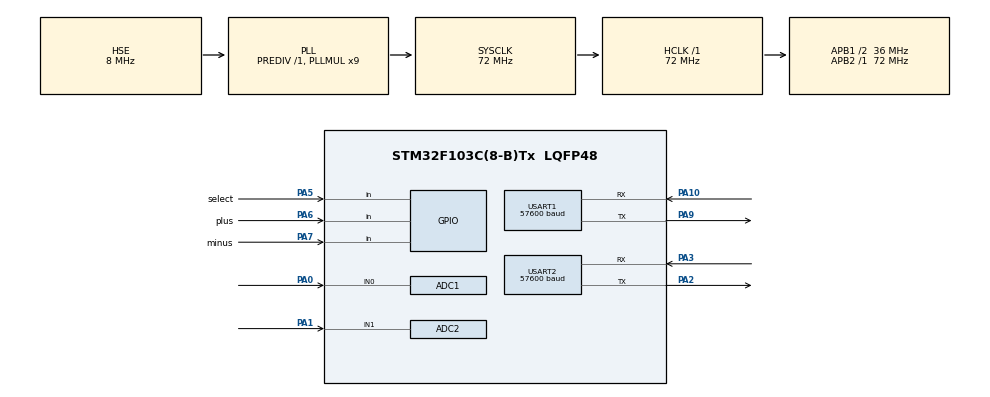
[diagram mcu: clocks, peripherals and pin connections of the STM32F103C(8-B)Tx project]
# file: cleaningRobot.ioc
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ADC1.Channel-0\#ChannelRegularConversion=ADC_CHANNEL_0
ADC1.ContinuousConvMode=ENABLE
ADC1.NbrOfConversion=1
ADC1.NbrOfConversionFlag=1
ADC1.Rank-0\#ChannelRegularConversion=1
ADC1.SamplingTime-0\#ChannelRegularConversion=ADC_SAMPLETIME_239CYCLES_5
ADC1.master=1
ADC2.Channel-0\#ChannelRegularConversion=ADC_CHANNEL_1
ADC2.ContinuousConvMode=ENABLE
ADC2.NbrOfConversionFlag=1
ADC2.Rank-0\#ChannelRegularConversion=1
ADC2.SamplingTime-0\#ChannelRegularConversion=ADC_SAMPLETIME_239CYCLES_5
FREERTOS.Tasks01=sendData1,47,256,sendData1Task,Default,NULL,Dynamic,NULL,NULL;sendData2,46,256,sendData2Task,Default,NULL,Dynamic,NULL,NULL;readAdc,45,256,readAdcTask,Default,NULL,Dynamic,NULL,NULL;getData1,44,256,getData1Task,Default,NULL,Dynamic,NULL,NULL;getData2,43,256,getData2Task,Default,NULL,Dynamic,NULL,NULL;btnControl,42,128,btnControlTask,Default,NULL,Dynamic,NULL,NULL
FREERTOS.configTOTAL_HEAP_SIZE=10240
Mcu.Family=STM32F1
Mcu.Name=STM32F103C(8-B)Tx
Mcu.Package=LQFP48
NVIC.PriorityGroup=NVIC_PRIORITYGROUP_4
NVIC.TIM1_UP_IRQn=true\:0\:0\:false\:false\:true\:false\:false\:true
NVIC.TIM4_IRQn=true\:5\:0\:false\:false\:true\:true\:true\:true
NVIC.TimeBase=TIM1_UP_IRQn
NVIC.TimeBaseIP=TIM1
PA0-WKUP.Signal=ADCx_IN0
PA1.Signal=ADCx_IN1
PA10.Mode=Asynchronous
PA10.Signal=USART1_RX
PA13.Mode=Serial_Wire
PA13.Signal=SYS_JTMS-SWDIO
PA14.Mode=Serial_Wire
PA14.Signal=SYS_JTCK-SWCLK
PA2.Mode=Asynchronous
PA2.Signal=USART2_TX
PA3.Mode=Asynchronous
PA3.Signal=USART2_RX
PA5.GPIO_Label=select
PA5.GPIO_PuPd=GPIO_PULLUP
PA5.Signal=GPIO_Input
PA6.GPIO_Label=plus
PA6.GPIO_PuPd=GPIO_PULLUP
PA6.Signal=GPIO_Input
PA7.GPIO_Label=minus
PA7.GPIO_PuPd=GPIO_PULLUP
PA7.Signal=GPIO_Input
PA9.Mode=Asynchronous
PA9.Signal=USART1_TX
PD0-OSC_IN.Mode=HSE-External-Oscillator
PD0-OSC_IN.Signal=RCC_OSC_IN
PD1-OSC_OUT.Mode=HSE-External-Oscillator
PD1-OSC_OUT.Signal=RCC_OSC_OUT
ProjectManager.HeapSize=0x200
ProjectManager.StackSize=0x400
ProjectManager.TargetToolchain=STM32CubeIDE
RCC.ADCPresc=RCC_ADCPCLK2_DIV6
RCC.AHBFreq_Value=72000000
RCC.APB1CLKDivider=RCC_HCLK_DIV2
RCC.APB1Freq_Value=36000000
RCC.APB1TimFreq_Value=72000000
RCC.APB2Freq_Value=72000000
RCC.APB2TimFreq_Value=72000000
RCC.HCLKFreq_Value=72000000
RCC.PLLMUL=RCC_PLL_MUL9
RCC.PLLSourceVirtual=RCC_PLLSOURCE_HSE
RCC.SYSCLKFreq_VALUE=72000000
RCC.SYSCLKSource=RCC_SYSCLKSOURCE_PLLCLK
RCC.USBFreq_Value=72000000
SH.ADCx_IN0.0=ADC1_IN0,IN0
SH.ADCx_IN1.0=ADC2_IN1,IN1
TIM4.ClockDivision=TIM_CLOCKDIVISION_DIV2
TIM4.Period=1
TIM4.Prescaler=15999
TIM4.TIM_MasterOutputTrigger=TIM_TRGO_UPDATE
USART1.BaudRate=57600
USART1.VirtualMode=VM_ASYNC
USART2.BaudRate=57600
USART2.VirtualMode=VM_ASYNC
VP_FREERTOS_VS_CMSIS_V2.Mode=CMSIS_V2
VP_SYS_VS_tim1.Mode=TIM1
VP_TIM4_VS_ClockSourceINT.Mode=Internal
board=custom

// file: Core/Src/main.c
/* USER CODE BEGIN Header */
/**
  ******************************************************************************
  * @file           : main.c
  * @brief          : Main program body
  ******************************************************************************
  * @attention
  *
  * <h2><center>&copy; Copyright (c) 2021 STMicroelectronics.
  * All rights reserved.</center></h2>
  *
  * This software component is licensed by ST under BSD 3-Clause license,
  * the "License"; You may not use this file except in compliance with the
  * License. You may obtain a copy of the License at:
  *                        opensource.org/licenses/BSD-3-Clause
  *
  ******************************************************************************
  */
/* USER CODE END Header */
#include "main.h"
#include "cmsis_os.h"

/* USER CODE BEGIN Includes */
#include "motorDriverInterface.h"
#include "analogValuesController.h"
#include "buttonController.h"
/* USER CODE END Includes */

ADC_HandleTypeDef hadc1;
ADC_HandleTypeDef hadc2;

TIM_HandleTypeDef htim4;

UART_HandleTypeDef huart1;
UART_HandleTypeDef huart2;

/* Definitions for sendData1 */
osThreadId_t sendData1Handle;
const osThreadAttr_t sendData1_attributes = {
  .name = "sendData1",
  .priority = (osPriority_t) osPriorityHigh7,
  .stack_size = 256 * 4
};
/* Definitions for sendData2 */
osThreadId_t sendData2Handle;
const osThreadAttr_t sendData2_attributes = {
  .name = "sendData2",
  .priority = (osPriority_t) osPriorityHigh6,
  .stack_size = 256 * 4
};
/* Definitions for readAdc */
osThreadId_t readAdcHandle;
const osThreadAttr_t readAdc_attributes = {
  .name = "readAdc",
  .priority = (osPriority_t) osPriorityHigh5,
  .stack_size = 256 * 4
};
/* Definitions for getData1 */
osThreadId_t getData1Handle;
const osThreadAttr_t getData1_attributes = {
  .name = "getData1",
  .priority = (osPriority_t) osPriorityHigh4,
  .stack_size = 256 * 4
};
/* Definitions for getData2 */
osThreadId_t getData2Handle;
const osThreadAttr_t getData2_attributes = {
  .name = "getData2",
  .priority = (osPriority_t) osPriorityHigh3,
  .stack_size = 256 * 4
};
/* Definitions for btnControl */
osThreadId_t btnControlHandle;
const osThreadAttr_t btnControl_attributes = {
  .name = "btnControl",
  .priority = (osPriority_t) osPriorityHigh2,
  .stack_size = 128 * 4
};

void SystemClock_Config(void);
static void MX_GPIO_Init(void);
static void MX_ADC1_Init(void);
static void MX_USART1_UART_Init(void);
static void MX_TIM4_Init(void);
static void MX_USART2_UART_Init(void);
static void MX_ADC2_Init(void);
void sendData1Task(void *argument);
void sendData2Task(void *argument);
void readAdcTask(void *argument);
void getData1Task(void *argument);
void getData2Task(void *argument);
void btnControlTask(void *argument);

/* USER CODE BEGIN 0 */
uint16_t val1,val2;
/* USER CODE END 0 */

int main(void)
{

  /* MCU Configuration--------------------------------------------------------*/

  /* Reset of all peripherals, Initializes the Flash interface and the Systick. */
  HAL_Init();

  /* Configure the system clock */
  SystemClock_Config();

  /* Initialize all configured peripherals */
  MX_GPIO_Init();
  MX_ADC1_Init();
  MX_USART1_UART_Init();
  MX_TIM4_Init();
  MX_USART2_UART_Init();
  MX_ADC2_Init();

  /* Init scheduler */
  osKernelInitialize();

  /* Create the thread(s) */
  /* creation of sendData1 */
  sendData1Handle = osThreadNew(sendData1Task, NULL, &sendData1_attributes);

  /* creation of sendData2 */
  sendData2Handle = osThreadNew(sendData2Task, NULL, &sendData2_attributes);

  /* creation of readAdc */
  readAdcHandle = osThreadNew(readAdcTask, NULL, &readAdc_attributes);

  /* creation of getData1 */
  getData1Handle = osThreadNew(getData1Task, NULL, &getData1_attributes);

  /* creation of getData2 */
  getData2Handle = osThreadNew(getData2Task, NULL, &getData2_attributes);

  /* creation of btnControl */
  btnControlHandle = osThreadNew(btnControlTask, NULL, &btnControl_attributes);

  /* Start scheduler */
  osKernelStart();

  /* We should never get here as control is now taken by the scheduler */
  /* Infinite loop */
  while (1)
  {

    /* USER CODE BEGIN 3 */

	  //
  }
  /* USER CODE END 3 */
}

void SystemClock_Config(void)
{
  RCC_OscInitTypeDef RCC_OscInitStruct = {0};
  RCC_ClkInitTypeDef RCC_ClkInitStruct = {0};
  RCC_PeriphCLKInitTypeDef PeriphClkInit = {0};

  /** Initializes the RCC Oscillators according to the specified parameters
  * in the RCC_OscInitTypeDef structure.
  */
  RCC_OscInitStruct.OscillatorType = RCC_OSCILLATORTYPE_HSE;
  RCC_OscInitStruct.HSEState = RCC_HSE_ON;
  RCC_OscInitStruct.HSEPredivValue = RCC_HSE_PREDIV_DIV1;
  RCC_OscInitStruct.HSIState = RCC_HSI_ON;
  RCC_OscInitStruct.PLL.PLLState = RCC_PLL_ON;
  RCC_OscInitStruct.PLL.PLLSource = RCC_PLLSOURCE_HSE;
  RCC_OscInitStruct.PLL.PLLMUL = RCC_PLL_MUL9;
  if (HAL_RCC_OscConfig(&RCC_OscInitStruct) != HAL_OK)
  {
    Error_Handler();
  }
  /** Initializes the CPU, AHB and APB buses clocks
  */
  RCC_ClkInitStruct.ClockType = RCC_CLOCKTYPE_HCLK|RCC_CLOCKTYPE_SYSCLK
                              |RCC_CLOCKTYPE_PCLK1|RCC_CLOCKTYPE_PCLK2;
  RCC_ClkInitStruct.SYSCLKSource = RCC_SYSCLKSOURCE_PLLCLK;
  RCC_ClkInitStruct.AHBCLKDivider = RCC_SYSCLK_DIV1;
  RCC_ClkInitStruct.APB1CLKDivider = RCC_HCLK_DIV2;
  RCC_ClkInitStruct.APB2CLKDivider = RCC_HCLK_DIV1;

  if (HAL_RCC_ClockConfig(&RCC_ClkInitStruct, FLASH_LATENCY_2) != HAL_OK)
  {
    Error_Handler();
  }
  PeriphClkInit.PeriphClockSelection = RCC_PERIPHCLK_ADC;
  PeriphClkInit.AdcClockSelection = RCC_ADCPCLK2_DIV6;
  if (HAL_RCCEx_PeriphCLKConfig(&PeriphClkInit) != HAL_OK)
  {
    Error_Handler();
  }
}

static void MX_ADC1_Init(void)
{

  ADC_ChannelConfTypeDef sConfig = {0};

  /** Common config
  */
  hadc1.Instance = ADC1;
  hadc1.Init.ScanConvMode = ADC_SCAN_DISABLE;
  hadc1.Init.ContinuousConvMode = ENABLE;
  hadc1.Init.DiscontinuousConvMode = DISABLE;
  hadc1.Init.ExternalTrigConv = ADC_SOFTWARE_START;
  hadc1.Init.DataAlign = ADC_DATAALIGN_RIGHT;
  hadc1.Init.NbrOfConversion = 1;
  if (HAL_ADC_Init(&hadc1) != HAL_OK)
  {
    Error_Handler();
  }
  /** Configure Regular Channel
  */
  sConfig.Channel = ADC_CHANNEL_0;
  sConfig.Rank = ADC_REGULAR_RANK_1;
  sConfig.SamplingTime = ADC_SAMPLETIME_239CYCLES_5;
  if (HAL_ADC_ConfigChannel(&hadc1, &sConfig) != HAL_OK)
  {
    Error_Handler();
  }

}

static void MX_ADC2_Init(void)
{

  ADC_ChannelConfTypeDef sConfig = {0};

  /** Common config
  */
  hadc2.Instance = ADC2;
  hadc2.Init.ScanConvMode = ADC_SCAN_DISABLE;
  hadc2.Init.ContinuousConvMode = ENABLE;
  hadc2.Init.DiscontinuousConvMode = DISABLE;
  hadc2.Init.ExternalTrigConv = ADC_SOFTWARE_START;
  hadc2.Init.DataAlign = ADC_DATAALIGN_RIGHT;
  hadc2.Init.NbrOfConversion = 1;
  if (HAL_ADC_Init(&hadc2) != HAL_OK)
  {
    Error_Handler();
  }
  /** Configure Regular Channel
  */
  sConfig.Channel = ADC_CHANNEL_1;
  sConfig.Rank = ADC_REGULAR_RANK_1;
  sConfig.SamplingTime = ADC_SAMPLETIME_239CYCLES_5;
  if (HAL_ADC_ConfigChannel(&hadc2, &sConfig) != HAL_OK)
  {
    Error_Handler();
  }

}

static void MX_TIM4_Init(void)
{

  TIM_ClockConfigTypeDef sClockSourceConfig = {0};
  TIM_MasterConfigTypeDef sMasterConfig = {0};

  htim4.Instance = TIM4;
  htim4.Init.Prescaler = 15999;
  htim4.Init.CounterMode = TIM_COUNTERMODE_UP;
  htim4.Init.Period = 1;
  htim4.Init.ClockDivision = TIM_CLOCKDIVISION_DIV2;
  htim4.Init.AutoReloadPreload = TIM_AUTORELOAD_PRELOAD_DISABLE;
  if (HAL_TIM_Base_Init(&htim4) != HAL_OK)
  {
    Error_Handler();
  }
  sClockSourceConfig.ClockSource = TIM_CLOCKSOURCE_INTERNAL;
  if (HAL_TIM_ConfigClockSource(&htim4, &sClockSourceConfig) != HAL_OK)
  {
    Error_Handler();
  }
  sMasterConfig.MasterOutputTrigger = TIM_TRGO_UPDATE;
  sMasterConfig.MasterSlaveMode = TIM_MASTERSLAVEMODE_DISABLE;
  if (HAL_TIMEx_MasterConfigSynchronization(&htim4, &sMasterConfig) != HAL_OK)
  {
    Error_Handler();
  }

}

static void MX_USART1_UART_Init(void)
{

  huart1.Instance = USART1;
  huart1.Init.BaudRate = 57600;
  huart1.Init.WordLength = UART_WORDLENGTH_8B;
  huart1.Init.StopBits = UART_STOPBITS_1;
  huart1.Init.Parity = UART_PARITY_NONE;
  huart1.Init.Mode = UART_MODE_TX_RX;
  huart1.Init.HwFlowCtl = UART_HWCONTROL_NONE;
  huart1.Init.OverSampling = UART_OVERSAMPLING_16;
  if (HAL_UART_Init(&huart1) != HAL_OK)
  {
    Error_Handler();
  }

}

static void MX_USART2_UART_Init(void)
{

  huart2.Instance = USART2;
  huart2.Init.BaudRate = 57600;
  huart2.Init.WordLength = UART_WORDLENGTH_8B;
  huart2.Init.StopBits = UART_STOPBITS_1;
  huart2.Init.Parity = UART_PARITY_NONE;
  huart2.Init.Mode = UART_MODE_TX_RX;
  huart2.Init.HwFlowCtl = UART_HWCONTROL_NONE;
  huart2.Init.OverSampling = UART_OVERSAMPLING_16;
  if (HAL_UART_Init(&huart2) != HAL_OK)
  {
    Error_Handler();
  }

}

static void MX_GPIO_Init(void)
{
  GPIO_InitTypeDef GPIO_InitStruct = {0};

  /* GPIO Ports Clock Enable */
  __HAL_RCC_GPIOD_CLK_ENABLE();
  __HAL_RCC_GPIOA_CLK_ENABLE();

  /*Configure GPIO pins : select_Pin plus_Pin minus_Pin */
  GPIO_InitStruct.Pin = select_Pin|plus_Pin|minus_Pin;
  GPIO_InitStruct.Mode = GPIO_MODE_INPUT;
  GPIO_InitStruct.Pull = GPIO_PULLUP;
  HAL_GPIO_Init(GPIOA, &GPIO_InitStruct);

}

void sendData1Task(void *argument)
{
  /* USER CODE BEGIN 5 */

  /* Infinite loop */
  for(;;)
  {
  transmissionDriver1();
  osDelay(5);
  }
  /* USER CODE END 5 */
}

void sendData2Task(void *argument)
{
  /* USER CODE BEGIN sendData2Task */
  /* Infinite loop */
  for(;;)
  {
	transmissionDriver2();
	osDelay(5);
  }
  /* USER CODE END sendData2Task */
}

void readAdcTask(void *argument)
{
  /* USER CODE BEGIN readAdcTask */
	uint16_t val1,val2;
  /* Infinite loop */
  for(;;)
  {
	readAnalog2Values(&hadc1,&hadc2);
	val1=valuesMap(getAnalogValue1(),0,4095,0,1000);
	setDriver1AngleValue(val1);
	osDelay(5);
	val2=valuesMap(getAnalogValue2(),0,4095,0,1000);
	setDriver2AngleValue(val2);
	osDelay(5);
  }
  /* USER CODE END readAdcTask */
}

void getData1Task(void *argument)
{
  /* USER CODE BEGIN getData1Task */
  /* Infinite loop */
  for(;;)
  {
	MDI_getDataChannel1();
	osDelay(5);
  }
  /* USER CODE END getData1Task */
}

void getData2Task(void *argument)
{
  /* USER CODE BEGIN getData2Task */
  /* Infinite loop */
  for(;;)
  {
	MDI_getDataChannel2();
	osDelay(5);
  }
  /* USER CODE END getData2Task */
}

void btnControlTask(void *argument)
{
  /* USER CODE BEGIN btnControlTask */
	btnParameterInit();
  /* Infinite loop */
  for(;;)
  {
	buttonController();
    osDelay(50);
  }
  /* USER CODE END btnControlTask */
}

 /**
  * @brief  Period elapsed callback in non blocking mode
  * @note   This function is called  when TIM1 interrupt took place, inside
  * HAL_TIM_IRQHandler(). It makes a direct call to HAL_IncTick() to increment
  * a global variable "uwTick" used as application time base.
  * @param  htim : TIM handle
  * @retval None
  */
void HAL_TIM_PeriodElapsedCallback(TIM_HandleTypeDef *htim)
{
  if (htim->Instance == TIM1) {
    HAL_IncTick();
  }
}

void Error_Handler(void)
{
  __disable_irq();
  while (1)
  {
  }
}

/************************ (C) COPYRIGHT STMicroelectronics *****END OF FILE****/
